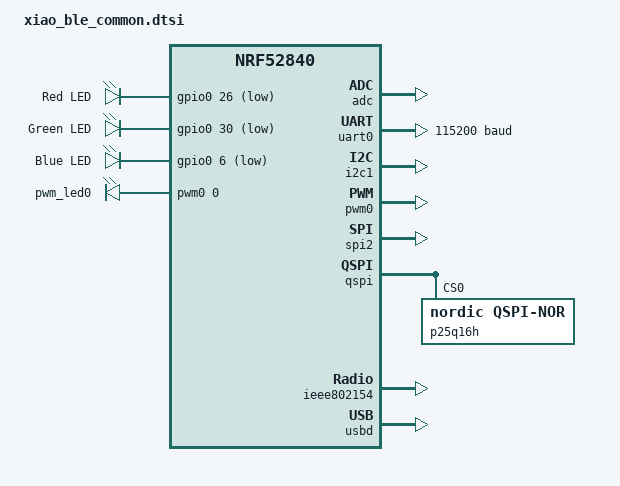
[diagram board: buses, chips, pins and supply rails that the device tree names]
/*
 * Copyright (c) 2022 Marcin Niestroj
 * Copyright (c) 2022 Peter Johanson
 *
 * SPDX-License-Identifier: Apache-2.0
 */

#include <nordic/nrf52840_qiaa.dtsi>
#include "xiao_ble-pinctrl.dtsi"
#include "seeed_xiao_connector.dtsi"

/ {
	chosen {
		zephyr,console = &usb_cdc_acm_uart;
		zephyr,shell-uart = &usb_cdc_acm_uart;
		zephyr,uart-mcumgr = &usb_cdc_acm_uart;
		zephyr,bt-mon-uart = &usb_cdc_acm_uart;
		zephyr,bt-c2h-uart = &usb_cdc_acm_uart;
		zephyr,sram = &sram0;
		zephyr,flash = &flash0;
		zephyr,code-partition = &code_partition;
		zephyr,ieee802154 = &ieee802154;
	};

	leds {
		compatible = "gpio-leds";
		led0: led_0 {
			gpios = <&gpio0 26 GPIO_ACTIVE_LOW>;
			label = "Red LED";
		};
		led1: led_1 {
			gpios = <&gpio0 30 GPIO_ACTIVE_LOW>;
			label = "Green LED";
		};
		led2: led_2 {
			gpios = <&gpio0 6 GPIO_ACTIVE_LOW>;
			label = "Blue LED";
		};
	};

	pwmleds {
		compatible = "pwm-leds";
		pwm_led0: pwm_led_0 {
			pwms = <&pwm0 0 PWM_MSEC(20) PWM_POLARITY_INVERTED>;
		};
	};

	/* These aliases are provided for compatibility with samples */
	aliases {
		led0 = &led0;
		led1 = &led1;
		led2 = &led2;
		pwm-led0 = &pwm_led0;
		bootloader-led0 = &led0;
		mcuboot-led0 = &led0;
		watchdog0 = &wdt0;
		spi-flash0 = &p25q16h;
	};
};

&adc {
	status = "okay";
};

&gpiote {
	status = "okay";
};

&gpio0 {
	status = "okay";
};

&gpio1 {
	status = "okay";
};

&uart0 {
	compatible = "nordic,nrf-uarte";
	status = "okay";
	current-speed = <115200>;
	pinctrl-0 = <&uart0_default>;
	pinctrl-1 = <&uart0_sleep>;
	pinctrl-names = "default", "sleep";
};

&i2c1 {
	compatible = "nordic,nrf-twi";
	/* Cannot be used together with spi1. */
	status = "okay";
	pinctrl-0 = <&i2c1_default>;
	pinctrl-1 = <&i2c1_sleep>;
	pinctrl-names = "default", "sleep";
};

&pwm0 {
	status = "okay";
	pinctrl-0 = <&pwm0_default>;
	pinctrl-1 = <&pwm0_sleep>;
	pinctrl-names = "default", "sleep";
};

&spi2 {
	compatible = "nordic,nrf-spi";
	status = "okay";
	pinctrl-0 = <&spi2_default>;
	pinctrl-1 = <&spi2_sleep>;
	pinctrl-names = "default", "sleep";
};

&qspi {
	status = "okay";
	pinctrl-0 = <&qspi_default>;
	pinctrl-1 = <&qspi_sleep>;
	pinctrl-names = "default", "sleep";
	p25q16h: p25q16h@0 {
		compatible = "nordic,qspi-nor";
		reg = <0>;
		sck-frequency = <104000000>;
		quad-enable-requirements = "S2B1v1";
		jedec-id = [85 60 15];
		sfdp-bfp = [
			e5 20 f1 ff  ff ff ff 00  44 eb 08 6b  08 3b 80 bb
			ee ff ff ff  ff ff 00 ff  ff ff 00 ff  0c 20 0f 52
			10 d8 08 81
		];
		size = <16777216>;
		has-dpd;
		t-enter-dpd = <3000>;
		t-exit-dpd = <8000>;
	};
};

&ieee802154 {
	status = "okay";
};

&flash0 {
	partitions {
		compatible = "fixed-partitions";
		#address-cells = <1>;
		#size-cells = <1>;

		sd_partition: partition@0 {
			label = "softdevice";
			reg = <0x00000000 0x00027000>;
		};

		code_partition: partition@27000 {
			label = "code_partition";
			reg = <0x00027000 0x000c5000>;
		};

		/*
		 * The flash starting at 0x000ec000 and ending at
		 * 0x000f3fff is reserved for use by the application.
		 *
		 * Storage partition will be used by FCB/LittleFS/NVS
		 * if enabled.
		 */
		storage_partition: partition@ec000 {
			label = "storage";
			reg = <0x000ec000 0x00008000>;
		};

		boot_partition: partition@f4000 {
			label = "adafruit_boot";
			reg = <0x000f4000 0x0000c000>;
		};
	};
};

zephyr_udc0: &usbd {
	compatible = "nordic,nrf-usbd";
	status = "okay";

	usb_cdc_acm_uart: cdc-acm-uart {
		compatible = "zephyr,cdc-acm-uart";
	};
};
